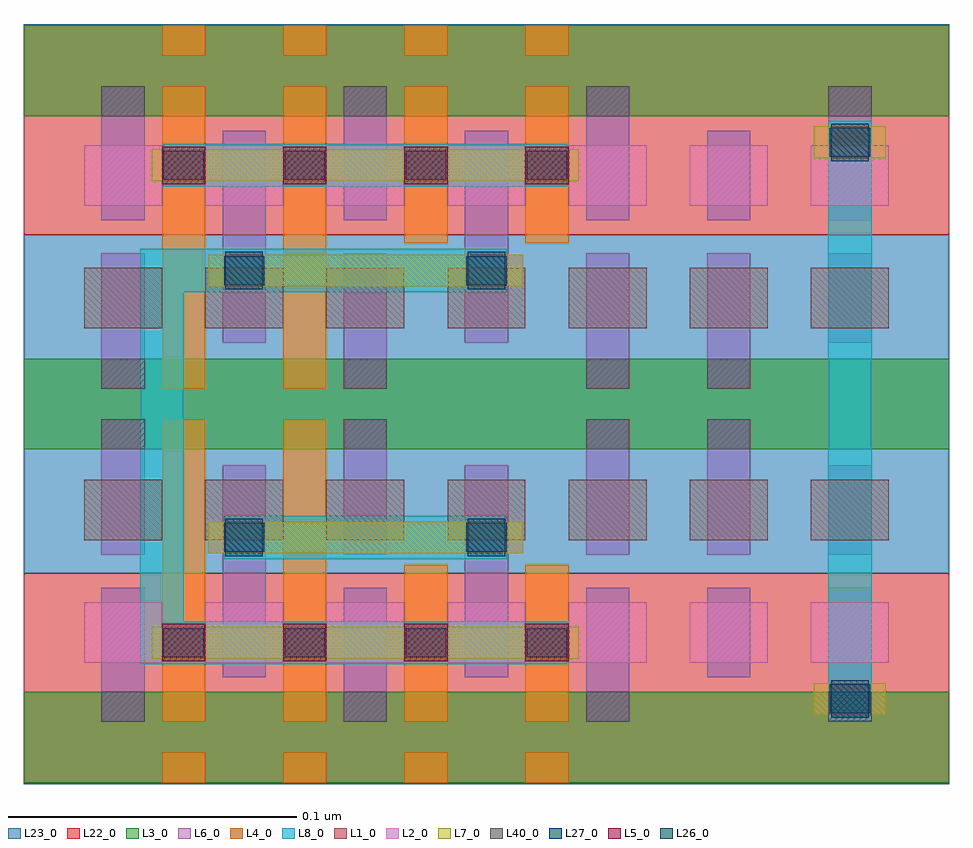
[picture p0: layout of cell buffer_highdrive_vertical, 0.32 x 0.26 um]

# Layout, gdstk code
import gdstk
lib = gdstk.Library(unit=1e-6, precision=2.5e-10)
def R(c, l, rs):  # rectangles x0, y0, x1, y1
    for r in rs: c.add(gdstk.rectangle(r[:2], r[2:], *l))
def A(c, l, x, y, w, h, nx, ny, dx, dy):  # array of equal rectangles
    R(c, l, [(x+i*dx, y+j*dy, x+i*dx+w, y+j*dy+h) for i in range(nx) for j in range(ny)])
def P(c, l, *ps):  # polygons
    for p in ps: c.add(gdstk.Polygon(p, *l))
L1_0 = (1, 0)
L2_0 = (2, 0)
L3_0 = (3, 0)
L4_0 = (4, 0)
L5_0 = (5, 0)
L6_0 = (6, 0)
L7_0 = (7, 0)
L8_0 = (8, 0)
L22_0 = (22, 0)
L23_0 = (23, 0)
L26_0 = (26, 0)
L27_0 = (27, 0)
L40_0 = (40, 0)

invx4 = lib.new_cell('invx4')
A(invx4, L1_0, 0.027, 0.042, 0.027, 0.021, 5, 1, 0.042, 0)
A(invx4, L2_0, 0.027, 0.0845, 0.027, 0.021, 5, 1, 0.042, 0)
R(invx4, L3_0, [(0.006,0,0.243,0.0315), (0.006,0.1155,0.243,0.147)])
A(invx4, L4_0, 0.054, 0.1365, 0.015, 0.0105, 4, 1, 0.042, 0)
R(invx4, L4_0, [(0.054,0,0.069,0.0105), (0.096,0,0.111,0.0105), (0.054,0.021,0.069,0.126), (0.096,0.021,0.111,0.126), (0.138,0.0715,0.153,0.126), (0.18,0.0715,0.195,0.126)])
A(invx4, L5_0, 0.054, 0.092, 0.015, 0.013, 4, 1, 0.042, 0)
A(invx4, L6_0, 0.033, 0.021, 0.015, 0.047, 3, 1, 0.084, 0)
A(invx4, L6_0, 0.033, 0.0795, 0.015, 0.0465, 3, 1, 0.084, 0)
R(invx4, L6_0, [(0.075,0.037,0.09,0.1105), (0.159,0.037,0.174,0.1105)])
R(invx4, L7_0, [(0.07,0.0565,0.179,0.0675), (0.0505,0.093,0.1985,0.104)])
R(invx4, L8_0, [(0.0755,0.0545,0.1735,0.0695), (0.0545,0.091,0.1945,0.106)])
R(invx4, L22_0, [(0.006,0.0745,0.243,0.147)])
R(invx4, L23_0, [(0.006,0,0.243,0.0745), (0.006,0.147,0.243,0.1475)])
R(invx4, L26_0, [(0.076,0.0555,0.089,0.0685), (0.16,0.0555,0.173,0.0685)])
A(invx4, L27_0, 0.0545, 0.0935, 0.014, 0.01, 4, 1, 0.042, 0)
R(invx4, L27_0, [(0.0755,0.057,0.0895,0.067), (0.1595,0.057,0.1735,0.067)])
A(invx4, L40_0, 0.033, 0.021, 0.015, 0.0105, 3, 2, 0.084, 0.0945)

sram_filler = lib.new_cell('sram_filler')
R(sram_filler, L1_0, [(0.022,0.042,0.049,0.063), (0.064,0.042,0.091,0.063)])
R(sram_filler, L2_0, [(0.022,0.0845,0.049,0.1055), (0.064,0.0845,0.091,0.1055)])
R(sram_filler, L3_0, [(0.001,0,0.112,0.0315), (0.001,0.1155,0.112,0.147)])
R(sram_filler, L6_0, [(0.028,0.021,0.043,0.068), (0.07,0.037,0.085,0.068), (0.028,0.0795,0.043,0.1105), (0.07,0.0795,0.085,0.126)])
R(sram_filler, L22_0, [(0.001,0.0745,0.112,0.147)])
R(sram_filler, L23_0, [(0.001,0,0.112,0.0745), (0.001,0.147,0.112,0.1475)])
R(sram_filler, L40_0, [(0.028,0.021,0.043,0.0315), (0.07,0.1155,0.085,0.126)])

buffer_highdrive_vertica = lib.new_cell('buffer_highdrive_vertical')
A(buffer_highdrive_vertica, L1_0, 0.0215, -0.032, 0.027, 0.021, 3, 2, 0.042, 0.0735)
R(buffer_highdrive_vertica, L3_0, [(0.079,0.012,0.0895,0.018), (0.159,0.138,0.1675,0.143)])
R(buffer_highdrive_vertica, L4_0, [(0.0485,-0.095,0.0635,0.01), (0.0905,-0.095,0.1055,0.01), (0.0485,0.0205,0.0635,0.1255), (0.0905,0.0205,0.1055,0.1255)])
R(buffer_highdrive_vertica, L6_0, [(0.2795,-0.0925,0.2945,-0.0815), (0.2795,0.1005,0.2945,0.1115)])
R(buffer_highdrive_vertica, L7_0, [(0.2745,-0.0925,0.2995,-0.0815), (0.2745,0.1005,0.2995,0.1115)])
R(buffer_highdrive_vertica, L8_0, [(0.2795,-0.0945,0.2945,0.1135), (0.074,-0.0335,0.081,-0.027), (0.0735,0.096,0.08,0.101)])
P(buffer_highdrive_vertica, L8_0, [(0.0845,0.069),(0.0845,0.054),(0.056,0.054),(0.056,-0.06),(0.063,-0.06),(0.063,-0.075),(0.041,-0.075),(0.041,0.069)])
R(buffer_highdrive_vertica, L26_0, [(0.2805,-0.0935,0.2935,-0.0805), (0.2805,0.0995,0.2935,0.1125)])
R(buffer_highdrive_vertica, L27_0, [(0.28,-0.092,0.294,-0.082), (0.28,0.101,0.294,0.111)])
buffer_highdrive_vertica.add(gdstk.Reference(invx4, (-0.0055,-0.0005)))
buffer_highdrive_vertica.add(gdstk.Reference(invx4, (-0.0055,0.031), x_reflection=True))
buffer_highdrive_vertica.add(gdstk.Reference(sram_filler, (0.2095,-0.0005)))
buffer_highdrive_vertica.add(gdstk.Reference(sram_filler, (0.2095,0.031), x_reflection=True))

lib.write_gds('buffer_highdrive_vertical.gds')
